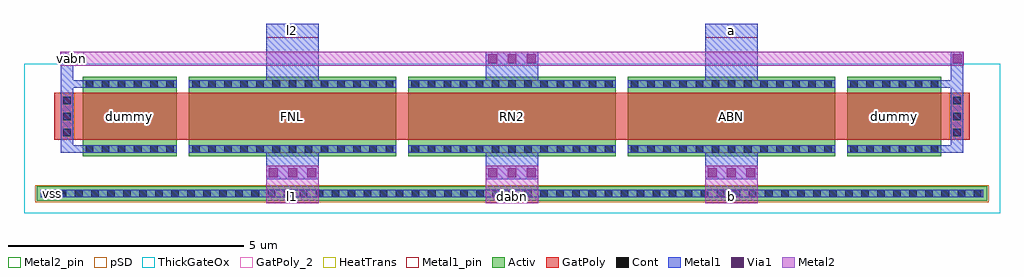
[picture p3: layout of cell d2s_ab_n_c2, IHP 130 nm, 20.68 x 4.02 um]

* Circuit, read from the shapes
.subckt d2s_ab_n_c2 a b dabn l1 l2 vabn vss
XM1 vabn vabn vabn vss sg13_hv_nmos w=2u l=1u m=2
XM2 l2 vabn l1 vss sg13_hv_nmos w=4.4u l=1u
XM3 vabn vabn dabn vss sg13_hv_nmos w=4.4u l=1u
XM4 a vabn b vss sg13_hv_nmos w=4.4u l=1u
.ends

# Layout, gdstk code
from math import pi, radians
import gdstk
lib = gdstk.Library(unit=1e-6, precision=1e-09)
def R(c, l, rs):  # rectangles x0, y0, x1, y1
    for r in rs: c.add(gdstk.rectangle(r[:2], r[2:], *l))
def A(c, l, x, y, w, h, nx, ny, dx, dy):  # array of equal rectangles
    R(c, l, [(x+i*dx, y+j*dy, x+i*dx+w, y+j*dy+h) for i in range(nx) for j in range(ny)])
Activ = (1, 0)
GatPoly = (5, 0)
GatPoly_2 = (5, 2)
Cont = (6, 0)
Metal1 = (8, 0)
Metal1_pin = (8, 2)
Metal2 = (10, 0)
Metal2_pin = (10, 2)
pSD = (14, 0)
Via1 = (19, 0)
ThickGateOx = (44, 0)
HeatTrans = (51, 0)

nmoshv_5 = lib.new_cell('nmosHV$5')
R(nmoshv_5, Activ, [(0,0,0.3,0.3), (0,0,1.68,2), (1.38,0,1.68,0.3)])
R(nmoshv_5, GatPoly, [(0.34,-0.18,1.34,2.18)])
R(nmoshv_5, GatPoly_2, [(0.34,-0.18,1.34,2.18)])
A(nmoshv_5, Cont, 0.07, 0.07, 0.16, 0.16, 1, 6, 0, 0.34)
A(nmoshv_5, Cont, 1.45, 0.07, 0.16, 0.16, 1, 6, 0, 0.34)
R(nmoshv_5, Metal1, [(0.07,0,0.23,2), (1.45,0,1.61,2)])
R(nmoshv_5, Metal1_pin, [(0.07,0,0.23,2), (1.45,0,1.61,2)])
R(nmoshv_5, ThickGateOx, [(-0.27,-0.52,1.95,2.52)])
R(nmoshv_5, HeatTrans, [(0.34,-0.18,1.34,2.18)])
nmoshv_5.add(gdstk.Label('nmosHV', (0.84,1), layer=63, texttype=0))
nmoshv_5.add(gdstk.Label('nmosHV', (0.84,1), layer=51, texttype=0))

nmoshv_6 = lib.new_cell('nmosHV$6')
R(nmoshv_6, Activ, [(0,0,0.3,0.3), (0,0,1.68,4.4), (1.38,0,1.68,0.3)])
R(nmoshv_6, GatPoly, [(0.34,-0.18,1.34,4.58)])
R(nmoshv_6, GatPoly_2, [(0.34,-0.18,1.34,4.58)])
A(nmoshv_6, Cont, 0.07, 0.07, 0.16, 0.16, 1, 3, 0, 0.34)
A(nmoshv_6, Cont, 1.45, 0.07, 0.16, 0.16, 1, 3, 0, 0.34)
A(nmoshv_6, Cont, 0.07, 1.095, 0.16, 0.16, 1, 3, 0, 0.34)
A(nmoshv_6, Cont, 1.45, 1.095, 0.16, 0.16, 1, 3, 0, 0.34)
A(nmoshv_6, Cont, 0.07, 2.12, 0.16, 0.16, 1, 3, 0, 0.34)
A(nmoshv_6, Cont, 1.45, 2.12, 0.16, 0.16, 1, 3, 0, 0.34)
A(nmoshv_6, Cont, 0.07, 3.145, 0.16, 0.16, 1, 3, 0, 0.34)
A(nmoshv_6, Cont, 1.45, 3.145, 0.16, 0.16, 1, 3, 0, 0.34)
R(nmoshv_6, Cont, [(0.07,4.17,0.23,4.33), (1.45,4.17,1.61,4.33)])
R(nmoshv_6, Metal1, [(0.07,0,0.23,4.4), (1.45,0,1.61,4.4)])
R(nmoshv_6, Metal1_pin, [(0.07,0,0.23,4.4), (1.45,0,1.61,4.4)])
R(nmoshv_6, ThickGateOx, [(-0.27,-0.52,1.95,4.92)])
R(nmoshv_6, HeatTrans, [(0.34,-0.18,1.34,4.58)])
nmoshv_6.add(gdstk.Label('nmosHV', (0.84,2.2), layer=63, texttype=0))
nmoshv_6.add(gdstk.Label('nmosHV', (0.84,2.2), layer=51, texttype=0))

d2s_ab_n_c2 = lib.new_cell('d2s_ab_n_c2')
R(d2s_ab_n_c2, Activ, [(-0.97,-0.945,19.17,-0.645)])
R(d2s_ab_n_c2, GatPoly, [(-0.6,0.34,-0.1,1.34), (18.3,0.34,18.8,1.34)])
A(d2s_ab_n_c2, Cont, -0.84, -0.875, 0.16, 0.16, 59, 1, 0.34, 0)
A(d2s_ab_n_c2, Cont, -0.41, 0.42, 0.16, 0.16, 1, 3, 0, 0.34)
A(d2s_ab_n_c2, Cont, 18.45, 0.42, 0.16, 0.16, 1, 3, 0, 0.34)
A(d2s_ab_n_c2, Metal1, 3.895, -0.495, 1.11, 0.725, 3, 1, 4.65, 0)
R(d2s_ab_n_c2, Metal1, [(-0.89,-0.875,19.09,-0.715), (-0.46,0.07,-0.2,1.61), (-0.33,0.07,0.1,0.23), (18.1,0.07,18.53,0.23), (18.4,0.07,18.66,1.61), (-0.33,1.45,0.1,1.61), (3.895,1.45,5.005,2.805), (8.545,1.45,9.655,2.205), (13.195,1.45,14.305,2.805), (18.1,1.45,18.53,1.61), (-0.46,1.48,-0.2,2.205), (18.4,1.48,18.66,2.205)])
R(d2s_ab_n_c2, Metal1_pin, [(-0.89,-0.875,-0.39,-0.715), (3.895,2.505,5.005,2.805), (13.195,2.505,14.305,2.805)])
A(d2s_ab_n_c2, Metal2, 3.895, -1, 1.11, 0.795, 3, 1, 4.65, 0)
R(d2s_ab_n_c2, Metal2, [(-0.475,1.915,18.675,2.205)])
A(d2s_ab_n_c2, Metal2_pin, 3.895, -1, 1.11, 0.3, 3, 1, 4.65, 0)
R(d2s_ab_n_c2, Metal2_pin, [(-0.475,1.915,0.025,2.205)])
R(d2s_ab_n_c2, pSD, [(-1,-0.975,19.2,-0.615)])
A(d2s_ab_n_c2, Via1, 3.945, -0.445, 0.19, 0.19, 3, 1, 0.41, 0)
A(d2s_ab_n_c2, Via1, 8.595, -0.445, 0.19, 0.19, 3, 2, 0.41, 2.41)
A(d2s_ab_n_c2, Via1, 13.245, -0.445, 0.19, 0.19, 3, 1, 0.41, 0)
R(d2s_ab_n_c2, Via1, [(-0.425,1.965,-0.235,2.155), (18.435,1.965,18.625,2.155)])
R(d2s_ab_n_c2, ThickGateOx, [(-1.24,-1.215,19.44,1.95)])
d2s_ab_n_c2.add(gdstk.Reference(nmoshv_5, (0,1.68), rotation=3*pi/2))
d2s_ab_n_c2.add(gdstk.Reference(nmoshv_6, (2.25,1.68), rotation=3*pi/2))
d2s_ab_n_c2.add(gdstk.Reference(nmoshv_6, (6.9,1.68), rotation=3*pi/2))
d2s_ab_n_c2.add(gdstk.Reference(nmoshv_6, (15.95,1.68), rotation=3*pi/2, x_reflection=True))
d2s_ab_n_c2.add(gdstk.Reference(nmoshv_5, (18.2,1.68), rotation=3*pi/2, x_reflection=True))
d2s_ab_n_c2.add(gdstk.Label('l2', (4.45,2.655), layer=8, texttype=25))
d2s_ab_n_c2.add(gdstk.Label('a', (13.75,2.655), layer=8, texttype=25))
d2s_ab_n_c2.add(gdstk.Label('vss', (-0.64,-0.795), layer=8, texttype=25))
d2s_ab_n_c2.add(gdstk.Label('vabn', (-0.225,2.06), layer=10, texttype=25))
d2s_ab_n_c2.add(gdstk.Label('l1', (4.45,-0.85), layer=10, texttype=25))
d2s_ab_n_c2.add(gdstk.Label('dabn', (9.1,-0.85), layer=10, texttype=25))
d2s_ab_n_c2.add(gdstk.Label('b', (13.75,-0.85), layer=10, texttype=25))
d2s_ab_n_c2.add(gdstk.Label('dummy', (1,0.84), layer=63, texttype=0))
d2s_ab_n_c2.add(gdstk.Label('FNL', (4.45,0.84), layer=63, texttype=0))
d2s_ab_n_c2.add(gdstk.Label('RN2', (9.1,0.84), layer=63, texttype=0))
d2s_ab_n_c2.add(gdstk.Label('ABN', (13.75,0.84), layer=63, texttype=0))
d2s_ab_n_c2.add(gdstk.Label('dummy', (17.2,0.84), layer=63, texttype=0))

lib.write_gds('d2s_ab_n_c2.gds')
